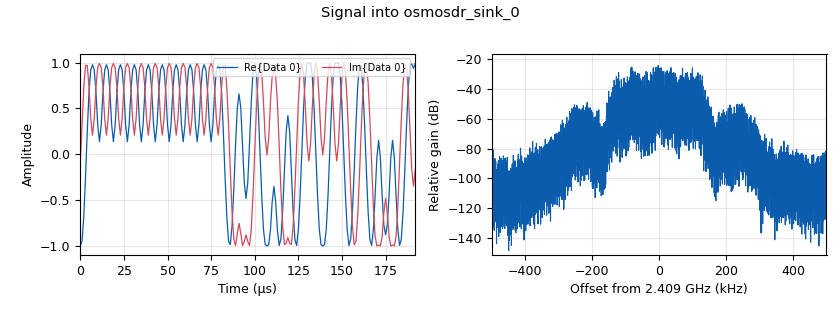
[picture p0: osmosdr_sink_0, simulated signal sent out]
<?xml version='1.0' encoding='utf-8'?>
<?grc format='1' created='3.7.12'?>
<flow_graph>
<block>
<key>options</key>
<param><key>id</key><value>gfsk</value></param>
<param><key>category</key><value>Custom</value></param>
<param><key>generate_options</key><value>wx_gui</value></param>
</block>
<block>
<key>variable_slider</key>
<param><key>id</key><value>bb_gain</value></param>
<param><key>converver</key><value>int_converter</value></param>
<param><key>value</key><value>30</value></param>
<param><key>label</key><value></value></param>
<param><key>max</key><value>100</value></param>
<param><key>min</key><value>0</value></param>
<param><key>num_steps</key><value>100</value></param>
<param><key>style</key><value>wx.SL_HORIZONTAL</value></param>
</block>
<block>
<key>variable</key>
<param><key>id</key><value>bitrate</value></param>
<param><key>value</key><value>250000</value></param>
</block>
<block>
<key>variable_slider</key>
<param><key>id</key><value>ch</value></param>
<param><key>converver</key><value>int_converter</value></param>
<param><key>value</key><value>9</value></param>
<param><key>label</key><value></value></param>
<param><key>max</key><value>128</value></param>
<param><key>min</key><value>0</value></param>
<param><key>num_steps</key><value>128</value></param>
<param><key>style</key><value>wx.SL_HORIZONTAL</value></param>
</block>
<block>
<key>variable_slider</key>
<param><key>id</key><value>ch_1</value></param>
<param><key>converver</key><value>int_converter</value></param>
<param><key>value</key><value>13</value></param>
<param><key>label</key><value></value></param>
<param><key>max</key><value>128</value></param>
<param><key>min</key><value>0</value></param>
<param><key>num_steps</key><value>128</value></param>
<param><key>style</key><value>wx.SL_HORIZONTAL</value></param>
</block>
<block>
<key>variable_slider</key>
<param><key>id</key><value>ch_2</value></param>
<param><key>converver</key><value>int_converter</value></param>
<param><key>value</key><value>37</value></param>
<param><key>label</key><value></value></param>
<param><key>max</key><value>128</value></param>
<param><key>min</key><value>0</value></param>
<param><key>num_steps</key><value>128</value></param>
<param><key>style</key><value>wx.SL_HORIZONTAL</value></param>
</block>
<block>
<key>variable_slider</key>
<param><key>id</key><value>ch_3</value></param>
<param><key>converver</key><value>int_converter</value></param>
<param><key>value</key><value>45</value></param>
<param><key>label</key><value></value></param>
<param><key>max</key><value>128</value></param>
<param><key>min</key><value>0</value></param>
<param><key>num_steps</key><value>128</value></param>
<param><key>style</key><value>wx.SL_HORIZONTAL</value></param>
</block>
<block>
<key>variable_slider</key>
<param><key>id</key><value>ch_4</value></param>
<param><key>converver</key><value>int_converter</value></param>
<param><key>value</key><value>69</value></param>
<param><key>label</key><value></value></param>
<param><key>max</key><value>128</value></param>
<param><key>min</key><value>0</value></param>
<param><key>num_steps</key><value>128</value></param>
<param><key>style</key><value>wx.SL_HORIZONTAL</value></param>
</block>
<block>
<key>variable</key>
<param><key>id</key><value>fc</value></param>
<param><key>value</key><value>2400000000+ch*1000000</value></param>
</block>
<block>
<key>variable</key>
<param><key>id</key><value>fc_1</value></param>
<param><key>value</key><value>2400000000+ch_1*1000000</value></param>
</block>
<block>
<key>variable</key>
<param><key>id</key><value>fc_2</value></param>
<param><key>value</key><value>2400000000+ch_2*1000000</value></param>
</block>
<block>
<key>variable</key>
<param><key>id</key><value>fc_3</value></param>
<param><key>value</key><value>2400000000+ch_3*1000000</value></param>
</block>
<block>
<key>variable</key>
<param><key>id</key><value>fc_4</value></param>
<param><key>value</key><value>2400000000+ch_4*1000000</value></param>
</block>
<block>
<key>variable_slider</key>
<param><key>id</key><value>if_gain</value></param>
<param><key>converver</key><value>int_converter</value></param>
<param><key>value</key><value>20</value></param>
<param><key>label</key><value></value></param>
<param><key>max</key><value>100</value></param>
<param><key>min</key><value>0</value></param>
<param><key>num_steps</key><value>100</value></param>
<param><key>style</key><value>wx.SL_HORIZONTAL</value></param>
</block>
<block>
<key>variable_slider</key>
<param><key>id</key><value>rf_gain</value></param>
<param><key>converver</key><value>int_converter</value></param>
<param><key>value</key><value>0</value></param>
<param><key>label</key><value></value></param>
<param><key>max</key><value>100</value></param>
<param><key>min</key><value>0</value></param>
<param><key>num_steps</key><value>100</value></param>
<param><key>style</key><value>wx.SL_HORIZONTAL</value></param>
</block>
<block>
<key>variable</key>
<param><key>id</key><value>samp_rate</value></param>
<param><key>value</key><value>1000000</value></param>
</block>
<block>
<key>blocks_vector_source_x</key>
<param><key>id</key><value>blocks_vector_ch9_X4</value></param>
<param><key>type</key><value>byte</value></param>
<param><key>repeat</key><value>True</value></param>
<param><key>vector</key><value>[0x00, 0xaa, 0xaf, 0xae, 0xad, 0xac, 0xab, 0xa1, 0xf8, 0x03, 0x8e, 0x94, 0xaa, 0xaa, 0xbb, 0xb1, 0x9f, 0xa3, 0xb7]</value></param>
</block>
<block>
<key>blocks_vector_source_x</key>
<param><key>id</key><value>blocks_vector_source_ch9_x5c</value></param>
<param><key>_enabled</key><value>0</value></param>
<param><key>type</key><value>byte</value></param>
<param><key>repeat</key><value>True</value></param>
<param><key>vector</key><value>[0x00, 0xaa, 0xaf, 0xae, 0xad, 0xac, 0xab, 0xa2, 0x00, 0x05, 0x72, 0x24, 0xaa, 0xaa, 0xaa, 0x00, 0xb0, 0xa5, 0x98]</value></param>
</block>
<block>
<key>digital_gfsk_mod</key>
<param><key>id</key><value>digital_gfsk_mod_0</value></param>
<param><key>bt</key><value>0.5</value></param>
<param><key>samples_per_symbol</key><value>samp_rate/bitrate</value></param>
<param><key>sensitivity</key><value>0.5</value></param>
</block>
<block>
<key>osmosdr_sink</key>
<param><key>id</key><value>osmosdr_sink_0</value></param>
<param><key>bb_gain0</key><value>bb_gain</value></param>
<param><key>bw0</key><value>samp_rate</value></param>
<param><key>freq0</key><value>fc</value></param>
<param><key>if_gain0</key><value>if_gain</value></param>
<param><key>gain0</key><value>rf_gain</value></param>
<param><key>args</key><value></value></param>
<param><key>type</key><value>fc32</value></param>
<param><key>sample_rate</key><value>samp_rate</value></param>
<param><key>sync</key><value></value></param>
</block>
<block>
<key>osmosdr_sink</key>
<param><key>id</key><value>osmosdr_sink_0_0</value></param>
<param><key>bb_gain0</key><value>bb_gain</value></param>
<param><key>bw0</key><value>samp_rate</value></param>
<param><key>freq0</key><value>fc_4</value></param>
<param><key>if_gain0</key><value>if_gain</value></param>
<param><key>gain0</key><value>rf_gain</value></param>
<param><key>args</key><value></value></param>
<param><key>_enabled</key><value>0</value></param>
<param><key>type</key><value>fc32</value></param>
<param><key>sample_rate</key><value>samp_rate</value></param>
<param><key>sync</key><value></value></param>
</block>
<block>
<key>osmosdr_sink</key>
<param><key>id</key><value>osmosdr_sink_0_1</value></param>
<param><key>bb_gain0</key><value>bb_gain</value></param>
<param><key>bw0</key><value>samp_rate</value></param>
<param><key>freq0</key><value>fc_3</value></param>
<param><key>if_gain0</key><value>if_gain</value></param>
<param><key>gain0</key><value>rf_gain</value></param>
<param><key>args</key><value></value></param>
<param><key>_enabled</key><value>0</value></param>
<param><key>type</key><value>fc32</value></param>
<param><key>sample_rate</key><value>samp_rate</value></param>
<param><key>sync</key><value></value></param>
</block>
<block>
<key>osmosdr_sink</key>
<param><key>id</key><value>osmosdr_sink_0_2</value></param>
<param><key>bb_gain0</key><value>bb_gain</value></param>
<param><key>bw0</key><value>samp_rate</value></param>
<param><key>freq0</key><value>fc_2</value></param>
<param><key>if_gain0</key><value>if_gain</value></param>
<param><key>gain0</key><value>rf_gain</value></param>
<param><key>args</key><value></value></param>
<param><key>_enabled</key><value>0</value></param>
<param><key>type</key><value>fc32</value></param>
<param><key>sample_rate</key><value>samp_rate</value></param>
<param><key>sync</key><value></value></param>
</block>
<connection><source_block_id>blocks_vector_ch9_X4</source_block_id><sink_block_id>digital_gfsk_mod_0</sink_block_id><source_key>0</source_key><sink_key>0</sink_key></connection>
<connection><source_block_id>digital_gfsk_mod_0</source_block_id><sink_block_id>osmosdr_sink_0</sink_block_id><source_key>0</source_key><sink_key>0</sink_key></connection>
</flow_graph>
